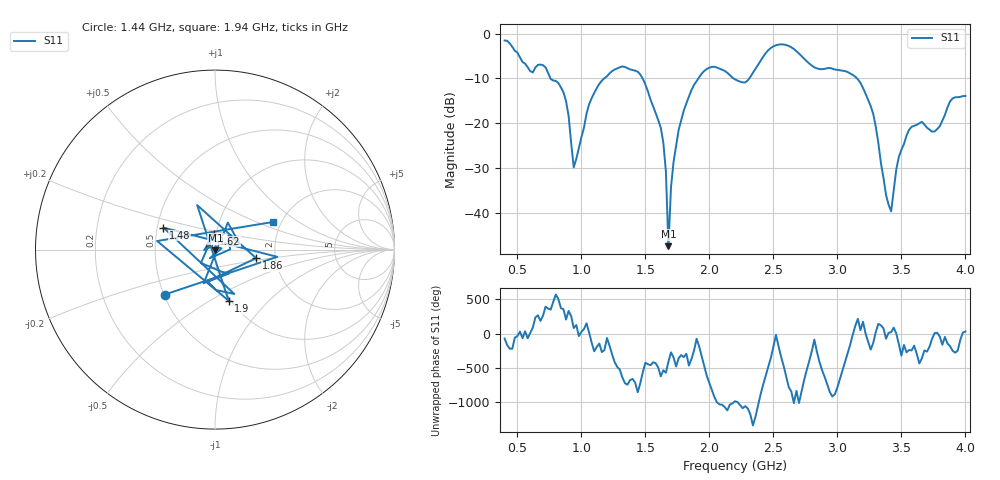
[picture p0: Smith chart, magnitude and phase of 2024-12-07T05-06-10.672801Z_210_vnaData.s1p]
!Created with skrf (http://scikit-rf.org).
# Hz S RI R 50.0
!freq ReS11 ImS11
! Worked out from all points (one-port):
!   181 points, 400 MHz to 4 GHz, reference 50 ohm
!   lowest |S11| = -47.5 dB at 1.68 GHz (marker M1), VSWR 1.01, Z = 50.3 - j0.331 ohm
!   |S11| at or under -10 dB: 758.1 MHz to 1.178 GHz (420.3 MHz wide, 43.4 % of centre); 1.478 GHz to 1.914 GHz (436.1 MHz wide, 25.7 % of centre); 3.153 GHz to end of sweep (the widest 3 of 4)
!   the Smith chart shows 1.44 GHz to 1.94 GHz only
!   S11 on the Smith chart (normalised r, x): 1.44 GHz: 0.51, -0.29; 1.48 GHz: 0.54, +0.15; 1.62 GHz: 0.97, +0.17; 1.86 GHz: 1.58, -0.16; 1.9 GHz: 0.98, -0.61; 1.94 GHz: 1.81, +0.64
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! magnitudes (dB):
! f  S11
! 400 MHz  -1.5
! 860 MHz  -13.1
! 900 MHz  -18.4
! 940 MHz  -29.9
! 1.08 GHz  -14.4
! 1.3 GHz  -7.5
! 1.44 GHz  -8.5
! 1.48 GHz  -10.1
! 1.62 GHz  -21.0
! 1.66 GHz  -30.7
! 1.68 GHz  -47.5
! 1.7 GHz  -34.3
! 1.76 GHz  -21.5
! 1.86 GHz  -12.6
! 1.9 GHz  -10.6
! 1.94 GHz  -8.9
! 2.2 GHz  -10.2
! 2.3 GHz  -10.4
! 2.5 GHz  -2.9
! 2.66 GHz  -3.5
! 3.1 GHz  -8.9
! 3.28 GHz  -18.0
! 3.42 GHz  -39.7
! 3.48 GHz  -27.5
! 3.56 GHz  -21.5
! 3.76 GHz  -21.8
! 3.9 GHz  -14.5
! 4 GHz  -13.9
